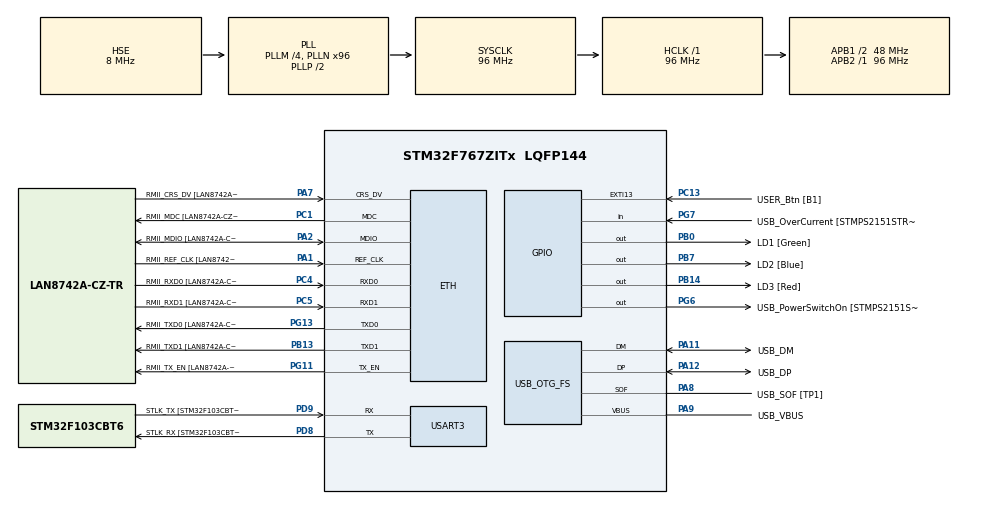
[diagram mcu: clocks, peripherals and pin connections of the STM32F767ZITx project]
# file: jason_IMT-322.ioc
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ETH.MediaInterface=HAL_ETH_RMII_MODE
ETH.PHY_Name=LAN8742A_PHY_ADDRESS
ETH.PHY_Value=0
ETH.PhyAddress=0
Mcu.Family=STM32F7
Mcu.Name=STM32F767ZITx
Mcu.Package=LQFP144
NVIC.PriorityGroup=NVIC_PRIORITYGROUP_4
PA1.GPIO_Label=RMII_REF_CLK [LAN8742A-CZ-TR_REFCLK0]
PA1.Mode=RMII
PA1.Signal=ETH_REF_CLK
PA10.GPIO_Label=USB_ID
PA10.Signal=USB_OTG_FS_ID
PA11.GPIO_Label=USB_DM
PA11.Mode=Device_Only
PA11.Signal=USB_OTG_FS_DM
PA12.GPIO_Label=USB_DP
PA12.Mode=Device_Only
PA12.Signal=USB_OTG_FS_DP
PA13.GPIO_Label=TMS
PA13.Mode=Serial_Wire
PA13.Signal=SYS_JTMS-SWDIO
PA14.GPIO_Label=TCK
PA14.Mode=Serial_Wire
PA14.Signal=SYS_JTCK-SWCLK
PA2.GPIO_Label=RMII_MDIO [LAN8742A-CZ-TR_MDIO]
PA2.Mode=RMII
PA2.Signal=ETH_MDIO
PA7.GPIO_Label=RMII_CRS_DV [LAN8742A-CZ-TR_CRS_DV]
PA7.Mode=RMII
PA7.Signal=ETH_CRS_DV
PA8.GPIO_Label=USB_SOF [TP1]
PA8.Mode=Activate_SOF_FS
PA8.Signal=USB_OTG_FS_SOF
PA9.GPIO_Label=USB_VBUS
PA9.Mode=Activate_VBUS
PA9.Signal=USB_OTG_FS_VBUS
PB0.GPIO_Label=LD1 [Green]
PB0.Signal=GPIO_Output
PB13.GPIO_Label=RMII_TXD1 [LAN8742A-CZ-TR_TXD1]
PB13.Mode=RMII
PB13.Signal=ETH_TXD1
PB14.GPIO_Label=LD3 [Red]
PB14.Signal=GPIO_Output
PB3.GPIO_Label=SWO
PB3.Signal=SYS_JTDO-SWO
PB7.GPIO_Label=LD2 [Blue]
PB7.Signal=GPIO_Output
PC1.GPIO_Label=RMII_MDC [LAN8742A-CZ-TR_MDC]
PC1.Mode=RMII
PC1.Signal=ETH_MDC
PC13.GPIO_Label=USER_Btn [B1]
PC13.Signal=GPXTI13
PC14/OSC32_IN.Mode=LSE-External-Oscillator
PC14/OSC32_IN.Signal=RCC_OSC32_IN
PC15/OSC32_OUT.Mode=LSE-External-Oscillator
PC15/OSC32_OUT.Signal=RCC_OSC32_OUT
PC4.GPIO_Label=RMII_RXD0 [LAN8742A-CZ-TR_RXD0]
PC4.Mode=RMII
PC4.Signal=ETH_RXD0
PC5.GPIO_Label=RMII_RXD1 [LAN8742A-CZ-TR_RXD1]
PC5.Mode=RMII
PC5.Signal=ETH_RXD1
PD8.GPIO_Label=STLK_RX [STM32F103CBT6_PA3]
PD8.Mode=Asynchronous
PD8.Signal=USART3_TX
PD9.GPIO_Label=STLK_TX [STM32F103CBT6_PA2]
PD9.Mode=Asynchronous
PD9.Signal=USART3_RX
PG11.GPIO_Label=RMII_TX_EN [LAN8742A-CZ-TR_TXEN]
PG11.Mode=RMII
PG11.Signal=ETH_TX_EN
PG13.GPIO_Label=RMII_TXD0 [LAN8742A-CZ-TR_TXD0]
PG13.Mode=RMII
PG13.Signal=ETH_TXD0
PG6.GPIO_Label=USB_PowerSwitchOn [STMPS2151STR_EN]
PG6.Signal=GPIO_Output
PG7.GPIO_Label=USB_OverCurrent [STMPS2151STR_FAULT]
PG7.Signal=GPIO_Input
PH0/OSC_IN.GPIO_Label=MCO [STM32F103CBT6_PA8]
PH0/OSC_IN.Mode=HSE-External-Clock-Source
PH0/OSC_IN.Signal=RCC_OSC_IN
PH1/OSC_OUT.Mode=HSE-External-Clock-Source
PH1/OSC_OUT.Signal=RCC_OSC_OUT
ProjectManager.HeapSize=0x200
ProjectManager.StackSize=0x400
ProjectManager.TargetToolchain=STM32CubeIDE
RCC.48MHZClocksFreq_Value=24000000
RCC.AHBFreq_Value=96000000
RCC.APB1CLKDivider=RCC_HCLK_DIV2
RCC.APB1Freq_Value=48000000
RCC.APB1TimFreq_Value=96000000
RCC.APB2Freq_Value=96000000
RCC.APB2TimFreq_Value=96000000
RCC.CortexFreq_Value=96000000
RCC.HCLKFreq_Value=96000000
RCC.HSE_VALUE=8000000
RCC.HSI_VALUE=16000000
RCC.PLLM=4
RCC.PLLMUL=RCC_PLL_MUL9
RCC.PLLN=96
RCC.PLLQ=4
RCC.PRESCALERUSB=RCC_USBCLKSOURCE_PLL_DIV1_5
RCC.SYSCLKFreq_VALUE=96000000
RCC.SYSCLKSource=RCC_SYSCLKSOURCE_PLLCLK
RCC.SYSCLKSourceVirtual=RCC_SYSCLKSOURCE_PLLCLK
RCC.USBFreq_Value=48000000
RCC.VCOOutputFreq_Value=192000000
USART3.VirtualMode-Asynchronous=VM_ASYNC
USB_OTG_FS.VirtualMode=Device_Only
board=NUCLEO-F767ZI

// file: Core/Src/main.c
/* USER CODE BEGIN Header */
/**
  ******************************************************************************
  * @file           : main.c
  * @brief          : Main program body
  ******************************************************************************
  * @attention
  *
  * Copyright (c) 2025 STMicroelectronics.
  * All rights reserved.
  *
  * This software is licensed under terms that can be found in the LICENSE file
  * in the root directory of this software component.
  * If no LICENSE file comes with this software, it is provided AS-IS.
  *
  ******************************************************************************
  */
/* USER CODE END Header */
#include "main.h"
#include "string.h"

/* USER CODE BEGIN PD */
#define DELAY 200
/* USER CODE END PD */

#if defined ( __ICCARM__ ) /*!< IAR Compiler */
#pragma location=0x2007c000
ETH_DMADescTypeDef  DMARxDscrTab[ETH_RX_DESC_CNT]; /* Ethernet Rx DMA Descriptors */
#pragma location=0x2007c0a0
ETH_DMADescTypeDef  DMATxDscrTab[ETH_TX_DESC_CNT]; /* Ethernet Tx DMA Descriptors */

#elif defined ( __CC_ARM )  /* MDK ARM Compiler */

__attribute__((at(0x2007c000))) ETH_DMADescTypeDef  DMARxDscrTab[ETH_RX_DESC_CNT]; /* Ethernet Rx DMA Descriptors */
__attribute__((at(0x2007c0a0))) ETH_DMADescTypeDef  DMATxDscrTab[ETH_TX_DESC_CNT]; /* Ethernet Tx DMA Descriptors */

#elif defined ( __GNUC__ ) /* GNU Compiler */

ETH_DMADescTypeDef DMARxDscrTab[ETH_RX_DESC_CNT] __attribute__((section(".RxDecripSection"))); /* Ethernet Rx DMA Descriptors */
ETH_DMADescTypeDef DMATxDscrTab[ETH_TX_DESC_CNT] __attribute__((section(".TxDecripSection")));   /* Ethernet Tx DMA Descriptors */
#endif

ETH_TxPacketConfig TxConfig;

ETH_HandleTypeDef heth;

UART_HandleTypeDef huart3;

PCD_HandleTypeDef hpcd_USB_OTG_FS;

void SystemClock_Config(void);
static void MX_GPIO_Init(void);
static void MX_ETH_Init(void);
static void MX_USART3_UART_Init(void);
static void MX_USB_OTG_FS_PCD_Init(void);

/* USER CODE BEGIN 0 */
void print_number(int num);
/* USER CODE END 0 */

int main(void)
{

  /* MCU Configuration--------------------------------------------------------*/

  /* Reset of all peripherals, Initializes the Flash interface and the Systick. */
  HAL_Init();

  /* Configure the system clock */
  SystemClock_Config();

  /* Initialize all configured peripherals */
  MX_GPIO_Init();
  MX_ETH_Init();
  MX_USART3_UART_Init();
  MX_USB_OTG_FS_PCD_Init();
  /* USER CODE BEGIN 2 */
  int contador = -2;
  int button_pressed = 0;
  int last_contador = -1;

  /* USER CODE END 2 */

  uint8_t B1[]=" Botón presionado 1 veces \n\r";
  uint8_t B2[]=" Botón presionado 2 veces \n\r";
  uint8_t B3[]=" Botón presionado 3 veces \n\r";
  uint8_t B4[]=" Botón presionado 4 veces \n\r";
  uint8_t B5[]=" Botón presionado 5 veces \n\r";
  uint8_t B6[]=" Botón presionado 6 veces \n\r";
  uint8_t L1[]=" LED1 encendido \n\r";
  uint8_t L2[]=" LED2 encendido \n\r";
  uint8_t L3[]=" LED3 encendido \n\r";
  uint8_t L1o[]=" LED1 apagado \n\r";
  uint8_t L2o[]=" LED2 apagado \n\r";
  uint8_t L3o[]=" LED3 apagado \n\r";

  /* Infinite loop */
  /* USER CODE BEGIN WHILE */
  while (1)
  {
	   if (HAL_GPIO_ReadPin(GPIOC, GPIO_PIN_13) == GPIO_PIN_RESET) {
	        if (!button_pressed) {
	            contador++;
	            HAL_Delay(DELAY);
	            if (contador > 5) {
	                contador = 0;
	            }
	            button_pressed = 1;
	        }
	    } else {
	        button_pressed = 0;
	    }

	    if (contador != last_contador) {
	        last_contador = contador; // Act
	        switch (contador) {
	            case 0:
	                HAL_GPIO_WritePin(GPIOB, LD1_Pin, GPIO_PIN_SET);
	                HAL_UART_Transmit(&huart3, B1, strlen(B1), HAL_MAX_DELAY);
	                print_number(contador);
	                HAL_UART_Transmit(&huart3, L1, strlen(L1), HAL_MAX_DELAY);
	                break;
	            case 1:
	                HAL_GPIO_WritePin(GPIOB, LD2_Pin, GPIO_PIN_SET);
	                HAL_UART_Transmit(&huart3, B2, strlen(B2), HAL_MAX_DELAY);
	                HAL_UART_Transmit(&huart3, L2, strlen(L2), HAL_MAX_DELAY);
	                break;
	            case 2:
	                HAL_GPIO_WritePin(GPIOB, LD3_Pin, GPIO_PIN_SET);
	                HAL_UART_Transmit(&huart3, B3, strlen(B3), HAL_MAX_DELAY);
	                HAL_UART_Transmit(&huart3, L3, strlen(L3), HAL_MAX_DELAY);
	                break;
	            case 3:
	                HAL_GPIO_WritePin(GPIOB, LD3_Pin, GPIO_PIN_RESET);
	                HAL_UART_Transmit(&huart3, B4, strlen(B4), HAL_MAX_DELAY);
	                HAL_UART_Transmit(&huart3, L3o, strlen(L3o), HAL_MAX_DELAY);
	                break;
	            case 4:
	                HAL_GPIO_WritePin(GPIOB, LD2_Pin, GPIO_PIN_RESET);
	                HAL_UART_Transmit(&huart3, B5, strlen(B5), HAL_MAX_DELAY);
	                HAL_UART_Transmit(&huart3, L2o, strlen(L2o), HAL_MAX_DELAY);
	                break;
	            case 5:
	                HAL_GPIO_WritePin(GPIOB, LD1_Pin, GPIO_PIN_RESET);
	                HAL_UART_Transmit(&huart3, B6, strlen(B6), HAL_MAX_DELAY);
	                HAL_UART_Transmit(&huart3, L1o, strlen(L1o), HAL_MAX_DELAY);
	                break;
	        }

	  }
    /* USER CODE END WHILE */

  }
}

void SystemClock_Config(void)
{
  RCC_OscInitTypeDef RCC_OscInitStruct = {0};
  RCC_ClkInitTypeDef RCC_ClkInitStruct = {0};

  /** Configure LSE Drive Capability
  */
  HAL_PWR_EnableBkUpAccess();

  /** Configure the main internal regulator output voltage
  */
  __HAL_RCC_PWR_CLK_ENABLE();
  __HAL_PWR_VOLTAGESCALING_CONFIG(PWR_REGULATOR_VOLTAGE_SCALE3);

  /** Initializes the RCC Oscillators according to the specified parameters
  * in the RCC_OscInitTypeDef structure.
  */
  RCC_OscInitStruct.OscillatorType = RCC_OSCILLATORTYPE_HSE;
  RCC_OscInitStruct.HSEState = RCC_HSE_BYPASS;
  RCC_OscInitStruct.PLL.PLLState = RCC_PLL_ON;
  RCC_OscInitStruct.PLL.PLLSource = RCC_PLLSOURCE_HSE;
  RCC_OscInitStruct.PLL.PLLM = 4;
  RCC_OscInitStruct.PLL.PLLN = 96;
  RCC_OscInitStruct.PLL.PLLP = RCC_PLLP_DIV2;
  RCC_OscInitStruct.PLL.PLLQ = 4;
  RCC_OscInitStruct.PLL.PLLR = 2;
  if (HAL_RCC_OscConfig(&RCC_OscInitStruct) != HAL_OK)
  {
    Error_Handler();
  }

  /** Activate the Over-Drive mode
  */
  if (HAL_PWREx_EnableOverDrive() != HAL_OK)
  {
    Error_Handler();
  }

  /** Initializes the CPU, AHB and APB buses clocks
  */
  RCC_ClkInitStruct.ClockType = RCC_CLOCKTYPE_HCLK|RCC_CLOCKTYPE_SYSCLK
                              |RCC_CLOCKTYPE_PCLK1|RCC_CLOCKTYPE_PCLK2;
  RCC_ClkInitStruct.SYSCLKSource = RCC_SYSCLKSOURCE_PLLCLK;
  RCC_ClkInitStruct.AHBCLKDivider = RCC_SYSCLK_DIV1;
  RCC_ClkInitStruct.APB1CLKDivider = RCC_HCLK_DIV2;
  RCC_ClkInitStruct.APB2CLKDivider = RCC_HCLK_DIV1;

  if (HAL_RCC_ClockConfig(&RCC_ClkInitStruct, FLASH_LATENCY_3) != HAL_OK)
  {
    Error_Handler();
  }
}

static void MX_ETH_Init(void)
{

   static uint8_t MACAddr[6];

  heth.Instance = ETH;
  MACAddr[0] = 0x00;
  MACAddr[1] = 0x80;
  MACAddr[2] = 0xE1;
  MACAddr[3] = 0x00;
  MACAddr[4] = 0x00;
  MACAddr[5] = 0x00;
  heth.Init.MACAddr = &MACAddr[0];
  heth.Init.MediaInterface = HAL_ETH_RMII_MODE;
  heth.Init.TxDesc = DMATxDscrTab;
  heth.Init.RxDesc = DMARxDscrTab;
  heth.Init.RxBuffLen = 1524;

  if (HAL_ETH_Init(&heth) != HAL_OK)
  {
    Error_Handler();
  }

  memset(&TxConfig, 0 , sizeof(ETH_TxPacketConfig));
  TxConfig.Attributes = ETH_TX_PACKETS_FEATURES_CSUM | ETH_TX_PACKETS_FEATURES_CRCPAD;
  TxConfig.ChecksumCtrl = ETH_CHECKSUM_IPHDR_PAYLOAD_INSERT_PHDR_CALC;
  TxConfig.CRCPadCtrl = ETH_CRC_PAD_INSERT;

}

static void MX_USART3_UART_Init(void)
{

  huart3.Instance = USART3;
  huart3.Init.BaudRate = 115200;
  huart3.Init.WordLength = UART_WORDLENGTH_8B;
  huart3.Init.StopBits = UART_STOPBITS_1;
  huart3.Init.Parity = UART_PARITY_NONE;
  huart3.Init.Mode = UART_MODE_TX_RX;
  huart3.Init.HwFlowCtl = UART_HWCONTROL_NONE;
  huart3.Init.OverSampling = UART_OVERSAMPLING_16;
  huart3.Init.OneBitSampling = UART_ONE_BIT_SAMPLE_DISABLE;
  huart3.AdvancedInit.AdvFeatureInit = UART_ADVFEATURE_NO_INIT;
  if (HAL_UART_Init(&huart3) != HAL_OK)
  {
    Error_Handler();
  }

}

static void MX_USB_OTG_FS_PCD_Init(void)
{

  hpcd_USB_OTG_FS.Instance = USB_OTG_FS;
  hpcd_USB_OTG_FS.Init.dev_endpoints = 6;
  hpcd_USB_OTG_FS.Init.speed = PCD_SPEED_FULL;
  hpcd_USB_OTG_FS.Init.dma_enable = DISABLE;
  hpcd_USB_OTG_FS.Init.phy_itface = PCD_PHY_EMBEDDED;
  hpcd_USB_OTG_FS.Init.Sof_enable = ENABLE;
  hpcd_USB_OTG_FS.Init.low_power_enable = DISABLE;
  hpcd_USB_OTG_FS.Init.lpm_enable = DISABLE;
  hpcd_USB_OTG_FS.Init.vbus_sensing_enable = ENABLE;
  hpcd_USB_OTG_FS.Init.use_dedicated_ep1 = DISABLE;
  if (HAL_PCD_Init(&hpcd_USB_OTG_FS) != HAL_OK)
  {
    Error_Handler();
  }

}

static void MX_GPIO_Init(void)
{
  GPIO_InitTypeDef GPIO_InitStruct = {0};

  /* GPIO Ports Clock Enable */
  __HAL_RCC_GPIOC_CLK_ENABLE();
  __HAL_RCC_GPIOH_CLK_ENABLE();
  __HAL_RCC_GPIOA_CLK_ENABLE();
  __HAL_RCC_GPIOB_CLK_ENABLE();
  __HAL_RCC_GPIOD_CLK_ENABLE();
  __HAL_RCC_GPIOG_CLK_ENABLE();

  /*Configure GPIO pin Output Level */
  HAL_GPIO_WritePin(GPIOB, LD1_Pin|LD3_Pin|LD2_Pin, GPIO_PIN_RESET);

  /*Configure GPIO pin Output Level */
  HAL_GPIO_WritePin(USB_PowerSwitchOn_GPIO_Port, USB_PowerSwitchOn_Pin, GPIO_PIN_RESET);

  /*Configure GPIO pin : USER_Btn_Pin */
  GPIO_InitStruct.Pin = USER_Btn_Pin;
  GPIO_InitStruct.Mode = GPIO_MODE_IT_RISING;
  GPIO_InitStruct.Pull = GPIO_NOPULL;
  HAL_GPIO_Init(USER_Btn_GPIO_Port, &GPIO_InitStruct);

  /*Configure GPIO pins : LD1_Pin LD3_Pin LD2_Pin */
  GPIO_InitStruct.Pin = LD1_Pin|LD3_Pin|LD2_Pin;
  GPIO_InitStruct.Mode = GPIO_MODE_OUTPUT_PP;
  GPIO_InitStruct.Pull = GPIO_NOPULL;
  GPIO_InitStruct.Speed = GPIO_SPEED_FREQ_LOW;
  HAL_GPIO_Init(GPIOB, &GPIO_InitStruct);

  /*Configure GPIO pin : USB_PowerSwitchOn_Pin */
  GPIO_InitStruct.Pin = USB_PowerSwitchOn_Pin;
  GPIO_InitStruct.Mode = GPIO_MODE_OUTPUT_PP;
  GPIO_InitStruct.Pull = GPIO_NOPULL;
  GPIO_InitStruct.Speed = GPIO_SPEED_FREQ_LOW;
  HAL_GPIO_Init(USB_PowerSwitchOn_GPIO_Port, &GPIO_InitStruct);

  /*Configure GPIO pin : USB_OverCurrent_Pin */
  GPIO_InitStruct.Pin = USB_OverCurrent_Pin;
  GPIO_InitStruct.Mode = GPIO_MODE_INPUT;
  GPIO_InitStruct.Pull = GPIO_NOPULL;
  HAL_GPIO_Init(USB_OverCurrent_GPIO_Port, &GPIO_InitStruct);

}
void print_number(int num){
	 char buffer[6];
	 int index = 0;

	 do{
		 buffer[index++] = (num % 10)+ '0';
	 }while (num > 0);

	 for(int i=0, j = index - 1; i < j; i++, j--){
		 char temp = buffer[i];
		 buffer[i] = buffer[j];
		 char buffer[6];
	 }
	 buffer[index] = '\0';
	 HAL_UART_Transmit(&huart3,(uint8_t*)buffer, index, HAL_MAX_DELAY);
	 HAL_UART_Transmit(&huart3,(uint8_t*)"\r", index, HAL_MAX_DELAY);

}

void Error_Handler(void)
{
  __disable_irq();
  while (1)
  {
  }
}
